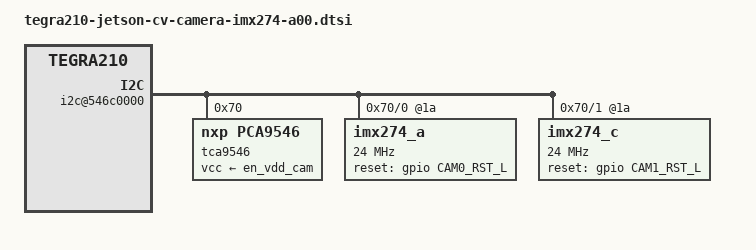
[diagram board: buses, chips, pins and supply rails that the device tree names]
/*
 * Copyright (c) 2017, NVIDIA CORPORATION.  All rights reserved.
 *
 * This program is free software; you can redistribute it and/or modify
 * it under the terms of the GNU General Public License as published by
 * the Free Software Foundation; either version 2 of the License, or
 * (at your option) any later version.
 *
 * This program is distributed in the hope that it will be useful, but WITHOUT
 * ANY WARRANTY; without even the implied warranty of MERCHANTABILITY or
 * FITNESS FOR A PARTICULAR PURPOSE.  See the GNU General Public License for
 * more details.
 *
 * You should have received a copy of the GNU General Public License
 * along with this program.  If not, see <http://www.gnu.org/licenses/>.
 */

#include "tegra210-camera-imx274-a00.dtsi"

/* camera control gpio definitions */
#define CAM0_RST_L	TEGRA_GPIO(S, 7)
#define CAM1_RST_L	TEGRA_GPIO(T, 0)
#define CAM2_RST_L	TEGRA_GPIO(S, 4)
#define CAMERA_I2C_MUX_BUS(x) (0x1E + x)

/ {
	host1x {
		i2c@546c0000 {
			tca9546@70 {
				compatible = "nxp,pca9546";
				reg = <0x70>;
				#address-cells = <1>;
				#size-cells = <0>;
				skip_mux_detect = "yes";
				vcc-supply = <&en_vdd_cam>;
				vcc_lp = "vcc";
				force_bus_start = <CAMERA_I2C_MUX_BUS(0)>;

				i2c@0 {
					reg = <0>;
					i2c-mux,deselect-on-exit;
					#address-cells = <1>;
					#size-cells = <0>;

					imx274_a@1a {
						/* Define any required hw resources needed by driver */
						/* ie. clocks, io pins, power sources */

						/* imx274 sensor input 24M clock from Tegra */
						clocks = <&tegra_car TEGRA210_CLK_CLK_OUT_3>;
						clock-names = "clk_out_3";
						clock-frequency = <24000000>;
						mclk = "clk_out_3";

						/* imx274 sensor reset gpio from Tegra */
						reset-gpios = <&gpio CAM0_RST_L GPIO_ACTIVE_HIGH>;

						/* imx274 sensor board doesn't not get power from Tegra */
						/* vana-supply = <&en_vdd_cam_hv_2v8>; */
						/* vif-supply = <&en_vdd_cam>; */
						/* vdig-supply = <&en_vdd_cam_1v2>; */
					};
				};

				i2c@1 {
					reg = <1>;
					i2c-mux,deselect-on-exit;
					#address-cells = <1>;
					#size-cells = <0>;

					imx274_c@1a {
						/* Define any required hw resources needed by driver */
						/* ie. clocks, io pins, power sources */

						/* imx274 sensor input 24M clock from Tegra */
						clocks = <&tegra_car TEGRA210_CLK_CLK_OUT_3>;
						clock-names = "clk_out_3";
						clock-frequency = <24000000>;
						mclk = "clk_out_3";

						/* imx274 sensor reset gpio from Tegra */
						reset-gpios = <&gpio CAM1_RST_L GPIO_ACTIVE_HIGH>;

						/* imx274 sensor board doesn't not get power from Tegra */
						/* vana-supply = <&en_vdd_cam_hv_2v8>; */
						/* vif-supply = <&en_vdd_cam>; */
						/* vdig-supply = <&en_vdd_cam_1v2>; */
					};
				};

				
			};
		};
	};
};
